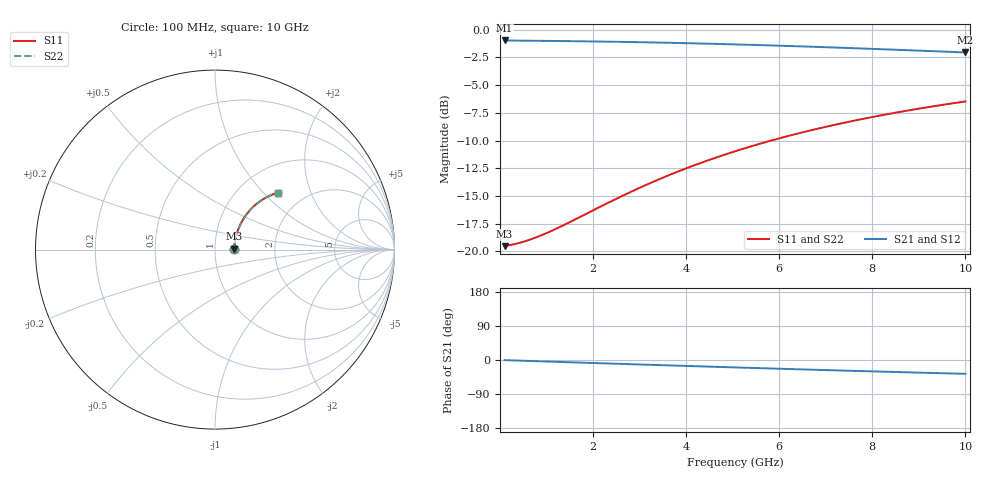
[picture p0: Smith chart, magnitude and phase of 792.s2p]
# Hz S RI R 50.00
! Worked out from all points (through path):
!   100 points, 100 MHz to 10 GHz, reference 50 ohm
!   highest |S21| = -0.97 dB at 100 MHz (marker M1); lowest = -2.1 dB at 10 GHz (marker M2)
!   group delay of S21, straight-line fit = 10.2 ps
!   lowest |S11| = -19.5 dB at 100 MHz (marker M3), VSWR 1.24, Z = 61.8 + j0.589 ohm
!   |S11| at or under -10 dB: start of sweep to 5.832 GHz
!   |S22| runs from -19.5 to -6.5 dB; largest |S21 - S12| = 0
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1e8  0.1053 0.00472  0.8947 -0.00622  0.8947 -0.00622  0.1053 0.00472
3e8  0.1067 0.0141  0.8933 -0.0186  0.8933 -0.0186  0.1067 0.0141
5e8  0.1079 0.0235  0.8921 -0.031  0.8921 -0.031  0.1079 0.0235
8e8  0.1099 0.0374  0.89 -0.0494  0.89 -0.0494  0.1099 0.0374
1e9  0.1114 0.0466  0.8884 -0.0617  0.8884 -0.0617  0.1114 0.0466
1.2e9  0.1132 0.0558  0.8866 -0.0738  0.8866 -0.0738  0.1132 0.0558
1.8e9  0.1198 0.0829  0.8798 -0.11  0.8798 -0.11  0.1198 0.0829
2.3e9  0.1268 0.1049  0.8726 -0.1395  0.8726 -0.1395  0.1268 0.1049
2.7e9  0.1333 0.122  0.8658 -0.1627  0.8658 -0.1627  0.1333 0.122
3.1e9  0.1408 0.1387  0.8581 -0.1853  0.8581 -0.1853  0.1408 0.1387
3.4e9  0.1469 0.1508  0.8517 -0.202  0.8517 -0.202  0.1469 0.1508
3.8e9  0.1557 0.1665  0.8426 -0.2237  0.8426 -0.2237  0.1557 0.1665
4.2e9  0.1652 0.1815  0.8326 -0.2448  0.8326 -0.2448  0.1652 0.1815
4.6e9  0.1755 0.1959  0.822 -0.2653  0.822 -0.2653  0.1755 0.1959
5.1e9  0.1891 0.2129  0.8077 -0.2899  0.8077 -0.2899  0.1891 0.2129
5.5e9  0.2007 0.2258  0.7956 -0.3088  0.7956 -0.3088  0.2007 0.2258
5.9e9  0.2128 0.2378  0.783 -0.3269  0.783 -0.3269  0.2128 0.2378
6.7e9  0.2382 0.2597  0.7564 -0.361  0.7564 -0.361  0.2382 0.2597
7.5e9  0.265 0.2784  0.7282 -0.392  0.7282 -0.392  0.265 0.2784
8.4e9  0.2962 0.2958  0.6952 -0.4232  0.6952 -0.4232  0.2962 0.2958
9.2e9  0.3245 0.3081  0.6652 -0.4478  0.6652 -0.4478  0.3245 0.3081
1e10  0.3529 0.3174  0.6348 -0.4696  0.6348 -0.4696  0.3529 0.3174
